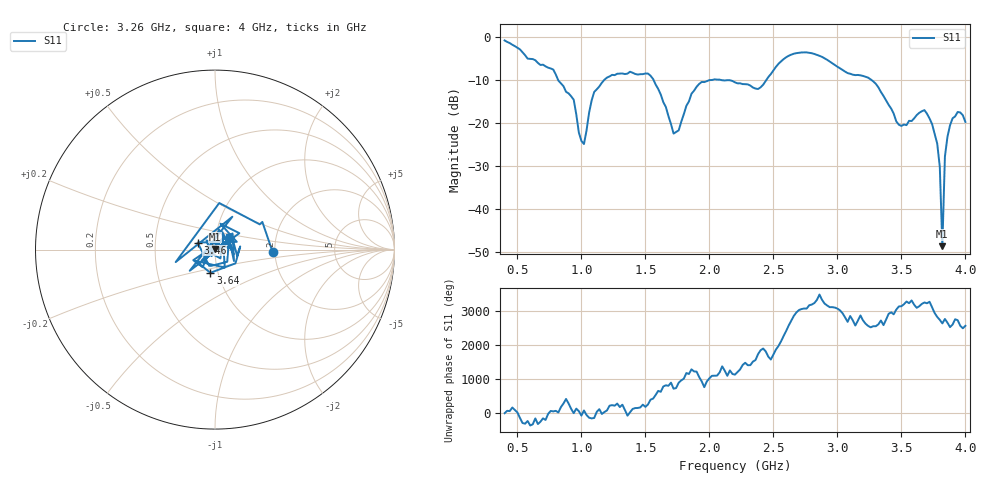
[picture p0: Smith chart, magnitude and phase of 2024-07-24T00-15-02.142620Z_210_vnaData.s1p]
!Created with skrf (http://scikit-rf.org).
# Hz S RI R 50.0
!freq ReS11 ImS11
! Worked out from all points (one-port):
!   181 points, 400 MHz to 4 GHz, reference 50 ohm
!   lowest |S11| = -48.6 dB at 3.82 GHz (marker M1), VSWR 1.01, Z = 49.9 + j0.34 ohm
!   |S11| at or under -10 dB: 818.5 MHz to 1.177 GHz (358.9 MHz wide, 36 % of centre); 1.564 GHz to 2.004 GHz (439.8 MHz wide, 24.7 % of centre); 3.267 GHz to end of sweep (the widest 3 of 4)
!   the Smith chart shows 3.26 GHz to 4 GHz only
!   S11 on the Smith chart (normalised r, x): 3.26 GHz: 1.95, -0.07; 3.46 GHz: 0.82, +0.07; 3.64 GHz: 0.92, -0.24; 4 GHz: 1.16, +0.16
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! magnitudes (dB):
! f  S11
! 400 MHz  -0.8
! 780 MHz  -7.5
! 860 MHz  -11.4
! 940 MHz  -14.6
! 980 MHz  -22.2
! 1.02 GHz  -24.9
! 1.1 GHz  -12.8
! 1.3 GHz  -8.5
! 1.54 GHz  -9.0
! 1.72 GHz  -22.4
! 1.76 GHz  -21.7
! 1.92 GHz  -10.9
! 2.2 GHz  -10.5
! 2.38 GHz  -12.1
! 2.66 GHz  -3.9
! 3.1 GHz  -8.5
! 3.26 GHz  -9.8
! 3.46 GHz  -19.6
! 3.56 GHz  -19.5
! 3.64 GHz  -17.6
! 3.7 GHz  -17.8
! 3.78 GHz  -24.8
! 3.8 GHz  -30.1
! 3.82 GHz  -48.6
! 3.84 GHz  -27.8
! 3.86 GHz  -23.2
! 3.94 GHz  -17.4
! 4 GHz  -19.7
